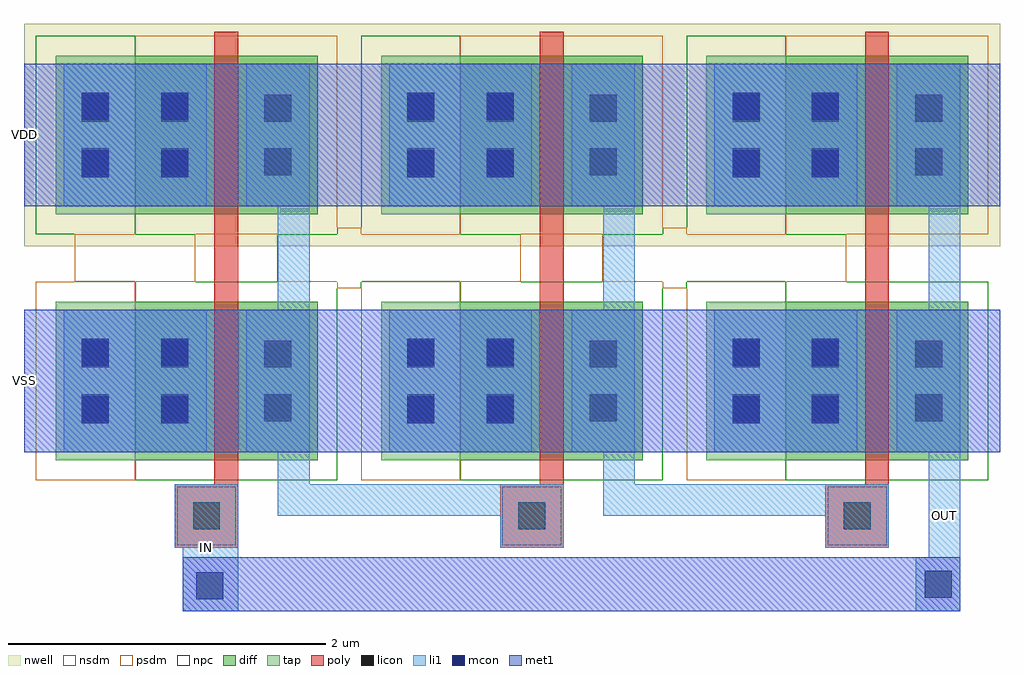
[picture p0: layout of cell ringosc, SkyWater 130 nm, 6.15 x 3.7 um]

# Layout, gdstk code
import gdstk
lib = gdstk.Library(unit=1e-6, precision=1e-09)
def R(c, l, rs):  # rectangles x0, y0, x1, y1
    for r in rs: c.add(gdstk.rectangle(r[:2], r[2:], *l))
nwell = (64, 20)
diff = (65, 20)
tap = (65, 44)
poly = (66, 20)
licon = (66, 44)
li1 = (67, 20)
mcon = (67, 44)
met1 = (68, 20)
nsdm = (93, 44)
psdm = (94, 20)
npc = (95, 20)

inv = lib.new_cell('inv')
R(inv, nwell, [(-1.2,1.35,0.85,2.75)])
R(inv, diff, [(-0.5,0,0.65,1), (-0.5,1.55,0.65,2.55)])
R(inv, tap, [(-1,0,-0.5,1), (-1,1.55,-0.5,2.55)])
R(inv, poly, [(-0.25,-0.55,0.15,-0.15), (0,-0.15,0.15,2.7)])
R(inv, licon, [(-0.135,-0.435,0.035,-0.265), (-0.835,0.245,-0.665,0.415), (-0.335,0.245,-0.165,0.415), (0.315,0.245,0.485,0.415), (-0.835,0.585,-0.665,0.755), (-0.335,0.585,-0.165,0.755), (0.315,0.585,0.485,0.755), (-0.835,1.795,-0.665,1.965), (-0.335,1.795,-0.165,1.965), (0.315,1.795,0.485,1.965), (-0.835,2.135,-0.665,2.305), (-0.335,2.135,-0.165,2.305), (0.315,2.135,0.485,2.305)])
R(inv, li1, [(-0.25,-0.55,0.15,-0.15), (0.4,-0.35,0.6,0.05), (-0.95,0.05,-0.05,0.95), (0.2,0.05,0.6,0.95), (0.4,0.95,0.6,1.6), (-0.95,1.6,-0.05,2.5), (0.2,1.6,0.6,2.5)])
R(inv, mcon, [(-0.835,0.235,-0.665,0.405), (-0.335,0.235,-0.165,0.405), (-0.835,0.595,-0.665,0.765), (-0.335,0.595,-0.165,0.765), (-0.835,1.785,-0.665,1.955), (-0.335,1.785,-0.165,1.955), (-0.835,2.145,-0.665,2.315), (-0.335,2.145,-0.165,2.315)])
R(inv, met1, [(-1.2,0.05,0.85,0.95), (-1.2,1.6,0.85,2.5)])
R(inv, nsdm, [(-0.5,-0.125,0.775,1.125), (-0.88,1.125,-0.12,1.425), (-1.125,1.425,-0.5,2.675)])
R(inv, psdm, [(-1.125,-0.125,-0.5,1.125), (-0.88,1.125,-0.12,1.425), (-0.5,1.425,0.775,2.675)])
R(inv, npc, [(-0.235,-0.535,0.135,-0.165)])
inv.add(gdstk.Label('IN', (-0.05,-0.55), layer=67, texttype=5))
inv.add(gdstk.Label('OUT', (0.5,-0.35), layer=67, texttype=5))
inv.add(gdstk.Label('VDD', (-1.2,2.05), layer=68, texttype=5))
inv.add(gdstk.Label('VSS', (-1.2,0.5), layer=68, texttype=5))

ringosc = lib.new_cell('ringosc')
R(ringosc, li1, [(0.9,-0.5,1.25,-0.1), (5.52,-0.5,5.8,-0.16), (5.6,-0.16,5.8,0.1), (1.7,0.1,2.9,0.3), (3.75,0.1,4.95,0.3)])
R(ringosc, mcon, [(0.985,-0.425,1.155,-0.255), (5.575,-0.415,5.745,-0.245)])
R(ringosc, met1, [(0.9,-0.5,5.8,-0.16), (-0.1,0.5,0.15,1.4), (-0.1,2.05,0.15,2.95)])
R(ringosc, nsdm, [(1.875,1.535,2.025,1.575), (3.925,1.535,4.075,1.575), (1.495,1.575,2.27,1.875), (3.545,1.575,4.32,1.875), (1.875,1.875,2.025,1.915), (3.925,1.875,4.075,1.915)])
R(ringosc, psdm, [(1.875,1.535,2.025,1.575), (3.925,1.535,4.075,1.575), (1.495,1.575,2.27,1.875), (3.545,1.575,4.32,1.875), (1.875,1.875,2.025,1.915), (3.925,1.875,4.075,1.915)])
ringosc.add(gdstk.Reference(inv, (1.1,0.45)))
ringosc.add(gdstk.Reference(inv, (3.15,0.45)))
ringosc.add(gdstk.Reference(inv, (5.2,0.45)))
ringosc.add(gdstk.Label('VDD', (-0.1,2.5), layer=68, texttype=16))
ringosc.add(gdstk.Label('VSS', (-0.1,0.95), layer=68, texttype=16))
ringosc.add(gdstk.Label('IN', (1.05,-0.1), layer=67, texttype=16))
ringosc.add(gdstk.Label('OUT', (5.7,0.1), layer=67, texttype=16))

lib.write_gds('ringosc.gds')
